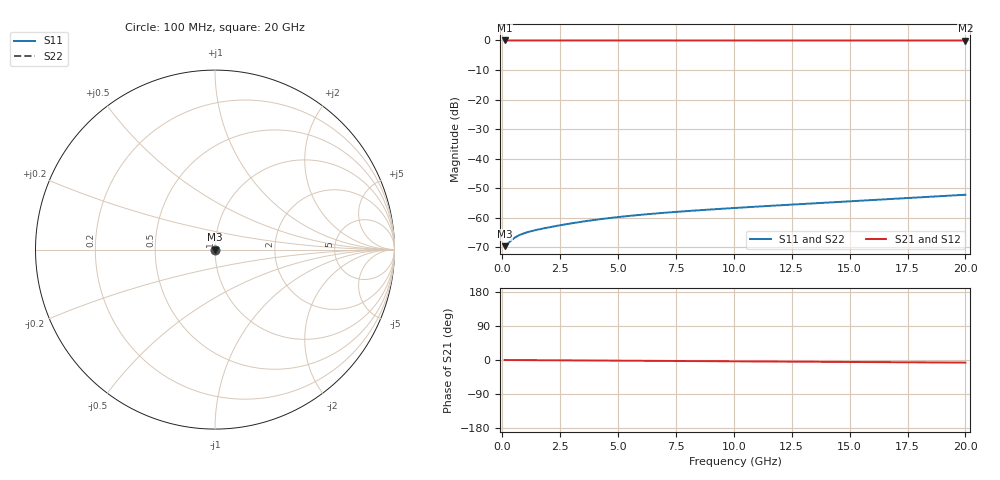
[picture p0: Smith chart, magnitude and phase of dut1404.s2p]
! Touchstone file exported from HFSS 2026.1.0
!  File:  C:/ffzhzh/LocalFiles/Ansys_Project_Files/temp_train_TSV_1404_1783196926_22436.aedt
!  Generated:  04:30:22 AM Jul  5, 2026
!  Design:  TSV
!  Project:  temp_train_TSV_1404_1783196926_22436
! Variables:
!  h_bsmrdl = 2um
!  h_ox = 20um
!  h_rdl = 5um
!  h_sub = 73.22um
!  h_tmrdl = 5um
!  h_tsv = 73.22um
!  h_via = 3um
!  l_bsmrdl = 300um
!  l_sub = 410.84um
!  l_tmrdl = 200um
!  m_sub = 200um
!  pitch = 21.98um
!  r_tsv = 5.42um
!  s_tmrdl = 10um
!  w_bsmrdl = 18um
!  w_sub = 500um
!  w_tmrdl = 12um
!  x_tsv_center1 = 206um
!  x_tsv_center2 = 524um
!  x_tsv_center3 = 736um
!  x_tsv_center4 = 1054um
!  x_tsv_center5 = 1266um
!  x_tsv_center6 = 1584um
# GHz S MA R 50.000000
! Terminal data exported
! Port[1] = TSV1_1_T1
! Port[2] = TSV1_1_T2
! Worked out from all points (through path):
!   200 points, 100 MHz to 20 GHz, reference 50 ohm
!   highest |S21| = 0.00 dB at 100 MHz (marker M1); lowest = 0.0 dB at 20 GHz (marker M2)
!   lowest |S11| = -69.7 dB at 100 MHz (marker M3), VSWR 1.00, Z = 50 + j0.00456 ohm
!   |S11| at or under -10 dB: start of sweep to end of sweep
!   |S22| runs from -69.7 to -52.3 dB; largest |S21 - S12| = 4e-15
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0.1  0.0003285 8.0  0.9997 -0.0  0.9997 -0.0  0.0003285 8.0
! Gamma 0 0 0 0
! Port Impedance 50 0 50 0
0.2  0.000352 14.2  0.9997 -0.1  0.9997 -0.1  0.000352 14.2
0.4  0.0004155 20.5  0.9996 -0.1  0.9996 -0.1  0.0004155 20.5
0.5  0.0004459 21.5  0.9996 -0.2  0.9996 -0.2  0.0004459 21.5
0.6  0.0004731 21.9  0.9996 -0.2  0.9996 -0.2  0.0004731 21.9
0.7  0.000497 22.0  0.9995 -0.3  0.9995 -0.3  0.000497 22.0
0.8  0.0005179 21.9  0.9995 -0.3  0.9995 -0.3  0.0005179 21.9
1  0.0005533 21.6  0.9995 -0.4  0.9995 -0.4  0.0005533 21.6
1.2  0.000583 21.3  0.9995 -0.4  0.9995 -0.4  0.000583 21.3
1.4  0.0006097 21.0  0.9994 -0.5  0.9994 -0.5  0.0006097 21.0
2  0.0006833 20.2  0.9994 -0.7  0.9994 -0.7  0.0006833 20.2
2.7  0.0007668 18.7  0.9993 -1.0  0.9993 -1.0  0.0007668 18.7
3.5  0.0008602 16.1  0.9992 -1.2  0.9992 -1.2  0.0008602 16.1
4.2  0.0009382 13.3  0.9991 -1.5  0.9991 -1.5  0.0009382 13.3
5  0.001022 9.6  0.999 -1.8  0.999 -1.8  0.001022 9.6
5.9  0.001109 5.3  0.9989 -2.1  0.9989 -2.1  0.001109 5.3
6.8  0.001191 1.1  0.9988 -2.4  0.9988 -2.4  0.001191 1.1
8.3  0.001317 -5.7  0.9987 -2.9  0.9987 -2.9  0.001317 -5.6
10.1  0.001463 -13.0  0.9986 -3.5  0.9986 -3.5  0.001463 -13.0
13.4  0.00174 -24.2  0.9984 -4.6  0.9984 -4.6  0.00174 -24.2
16.7  0.002057 -33.0  0.9982 -5.8  0.9982 -5.8  0.002058 -33.0
20  0.00244 -40.1  0.998 -6.9  0.998 -6.9  0.00244 -40.1
